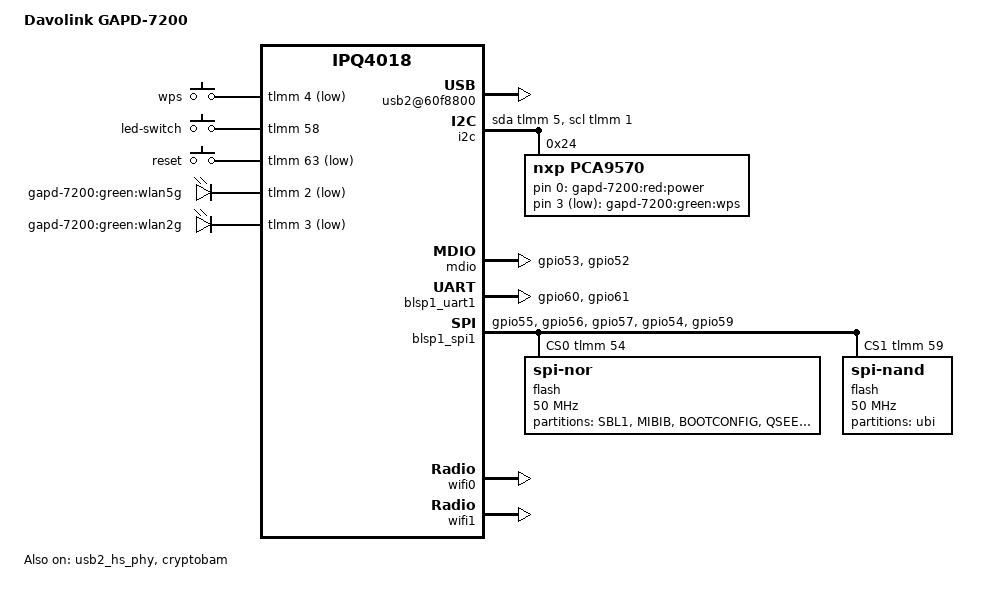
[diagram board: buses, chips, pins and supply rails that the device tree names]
// SPDX-License-Identifier: GPL-2.0-or-later OR MIT

#include "qcom-ipq4019.dtsi"
#include <dt-bindings/gpio/gpio.h>
#include <dt-bindings/input/input.h>
#include <dt-bindings/soc/qcom,tcsr.h>

/ {
	model = "Davolink GAPD-7200";
	compatible = "davolink,gapd-7200", "qcom,ipq4018";

	aliases {
		led-boot = &led_power;
		led-failsafe = &led_power;
		led-running = &led_power;
		led-upgrade = &led_power;
	};

	soc {
		rng@22000 {
			status = "okay";
		};

		ess-psgmii@98000 {
			status = "okay";
		};

		counter@4a1000 {
			compatible = "qcom,qca-gcnt";
			reg = <0x4a1000 0x4>;
		};

		tcsr@1949000 {
			compatible = "qcom,tcsr";
			reg = <0x1949000 0x100>;
			qcom,wifi_glb_cfg = <TCSR_WIFI_GLB_CFG>;
		};

		tcsr@194b000 {
			compatible = "qcom,tcsr";
			reg = <0x194b000 0x100>;
			qcom,usb-hsphy-mode-select = <TCSR_USB_HSPHY_HOST_MODE>;
		};

		ess_tcsr@1953000 {
			compatible = "qcom,tcsr";
			reg = <0x1953000 0x1000>;
			qcom,ess-interface-select = <TCSR_ESS_PSGMII>;
		};

		tcsr@1957000 {
			compatible = "qcom,tcsr";
			reg = <0x1957000 0x100>;
			qcom,wifi_noc_memtype_m0_m2 = <TCSR_WIFI_NOC_MEMTYPE_M0_M2>;
		};

		usb2@60f8800 {
			status = "okay";

			dwc3@6000000 {
				#address-cells = <1>;
				#size-cells = <0>;

				port@1 {
					reg = <1>;
					#trigger-source-cells = <0>;
				};
			};
		};

		crypto@8e3a000 {
			status = "okay";
		};

		watchdog@b017000 {
			status = "okay";
		};

		ess-switch@c000000 {
			status = "okay";
		};

		edma@c080000 {
			status = "okay";
		};
	};

	keys {
		compatible = "gpio-keys";

		wps {
			label = "wps";
			gpios = <&tlmm 4 GPIO_ACTIVE_LOW>;
			linux,code = <KEY_WPS_BUTTON>;
		};

		led-switch {
			label = "led-switch";
			gpios = <&tlmm 58 GPIO_ACTIVE_HIGH>;
			linux,code = <KEY_LIGHTS_TOGGLE>;
			linux,input-type = <EV_SW>;
		};

		reset {
			label = "reset";
			gpios = <&tlmm 63 GPIO_ACTIVE_LOW>;
			linux,code = <KEY_RESTART>;
		};
	};

	leds {
		compatible = "gpio-leds";

		wlan5g {
			label = "gapd-7200:green:wlan5g";
			gpios = <&tlmm 2 GPIO_ACTIVE_LOW>;
			linux,default-trigger = "phy1tpt";
		};

		wlan2g {
			label = "gapd-7200:green:wlan2g";
			gpios = <&tlmm 3 GPIO_ACTIVE_LOW>;
			linux,default-trigger = "phy0tpt";
		};

		led_power: power {
			label = "gapd-7200:red:power";
			gpios = <&pca9570 0 GPIO_ACTIVE_HIGH>;
		};

		wps {
			label = "gapd-7200:green:wps";
			gpios = <&pca9570 3 GPIO_ACTIVE_LOW>;
		};
	};

	i2c {
		compatible = "i2c-gpio";
		gpios = <&tlmm 5 (GPIO_ACTIVE_HIGH|GPIO_OPEN_DRAIN)>, /* sda */
		        <&tlmm 1 (GPIO_ACTIVE_HIGH|GPIO_OPEN_DRAIN)>; /* scl */
		#address-cells = <1>;
		#size-cells = <0>;

		pca9570: gpio@24 {
			compatible = "nxp,pca9570";
			reg = <0x24>;
			gpio-controller;
			#gpio-cells = <2>;

			usb {
				gpio-hog;
				gpios = <1 GPIO_ACTIVE_LOW>;
				output-high;
				line-name = "gapd-7200:power:usb";
			};
		};
	};
};

&mdio {
	status = "okay";

	pinctrl-0 = <&mdio_pins>;
	pinctrl-names = "default";
};

&usb2_hs_phy {
	status = "okay";
};

&tlmm {
	mdio_pins: mdio_pinmux {
		mux_mdio {
			pins = "gpio53";
			function = "mdio";
			bias-pull-up;
		};

		mux_mdc {
			pins = "gpio52";
			function = "mdc";
			bias-pull-up;
		};
	};

	spi_0_pins: spi_0_pinmux {
		mux_spi {
			pins = "gpio55", "gpio56", "gpio57";
			function = "blsp_spi0";
			drive-strength = <12>;
			bias-disable;
		};

		mux_cs {
			pins = "gpio54", "gpio59";
			function = "gpio";
			drive-strength = <2>;
			bias-disable;
			output-high;
		};
	};

	serial_pins: serial_pinmux {
		mux_uart {
			pins = "gpio60", "gpio61";
			function = "blsp_uart0";
			bias-disable;
		};
	};
};

&blsp_dma {
	status = "okay";
};

&blsp1_uart1 {
	status = "okay";

	pinctrl-0 = <&serial_pins>;
	pinctrl-names = "default";
};

&blsp1_spi1 {
	status = "okay";

	pinctrl-0 = <&spi_0_pins>;
	pinctrl-names = "default";
	cs-gpios = <&tlmm 54 GPIO_ACTIVE_HIGH>,
	           <&tlmm 59 GPIO_ACTIVE_HIGH>;

	flash@0 {
		/*
		 * U-boot looks for "n25q128a11" node,
		 * if we don't have it, it will spit out the following warning:
		 * "ipq: fdt fixup unable to find compatible node".
		 */
		compatible = "jedec,spi-nor";
		reg = <0>;
		spi-max-frequency = <50000000>;

		partitions {
			compatible = "fixed-partitions";
			#address-cells = <1>;
			#size-cells = <1>;

			partition@0 {
				label = "SBL1";
				reg = <0x0 0x40000>;
				read-only;
			};

			partition@40000 {
				label = "MIBIB";
				reg = <0x40000 0x20000>;
				read-only;
			};

			partition@60000 {
				label = "BOOTCONFIG";
				reg = <0x60000 0x20000>;
				read-only;
			};

			partition@80000 {
				label = "QSEE";
				reg = <0x80000 0x60000>;
				read-only;
			};

			partition@e0000 {
				label = "CDT";
				reg = <0xe0000 0x10000>;
				read-only;
			};

			partition@f0000 {
				label = "DDRPARAMS";
				reg = <0xf0000 0x10000>;
				read-only;
			};

			partition@100000 {
				label = "BOOTCONFIG1";
				reg = <0x100000 0x20000>;
				read-only;
			};

			partition@120000 {
				label = "APPSBLENV"; /* u-boot-env */
				reg = <0x120000 0x10000>;
			};

			partition@130000 {
				label = "APPSBL"; /* u-boot */
				reg = <0x130000 0x80000>;
				read-only;
			};

			partition@1b0000 {
				label = "ART";
				reg = <0x1b0000 0x10000>;
				read-only;
			};

			/* 0x1c0000 - 0x400000 unused */
		};
	};

	flash@1 {
		/*
		 * U-boot looks for "spinand,mt29f" node,
		 * if we don't have it, it will spit out the following warning:
		 * "ipq: fdt fixup unable to find compatible node".
		 */
		compatible = "spi-nand";
		reg = <1>;
		spi-max-frequency = <50000000>;

		partitions {
			compatible = "fixed-partitions";
			#address-cells = <1>;
			#size-cells = <1>;

			partition@0 {
				label = "ubi";
				reg = <0x0 0x8000000>;
			};
		};
	};
};

&cryptobam {
	status = "okay";
};

&wifi0 {
	status = "okay";
	qcom,ath10k-calibration-variant = "Davolink-GAPD-7200";
};

&wifi1 {
	status = "okay";
	qcom,ath10k-calibration-variant = "Davolink-GAPD-7200";
};
